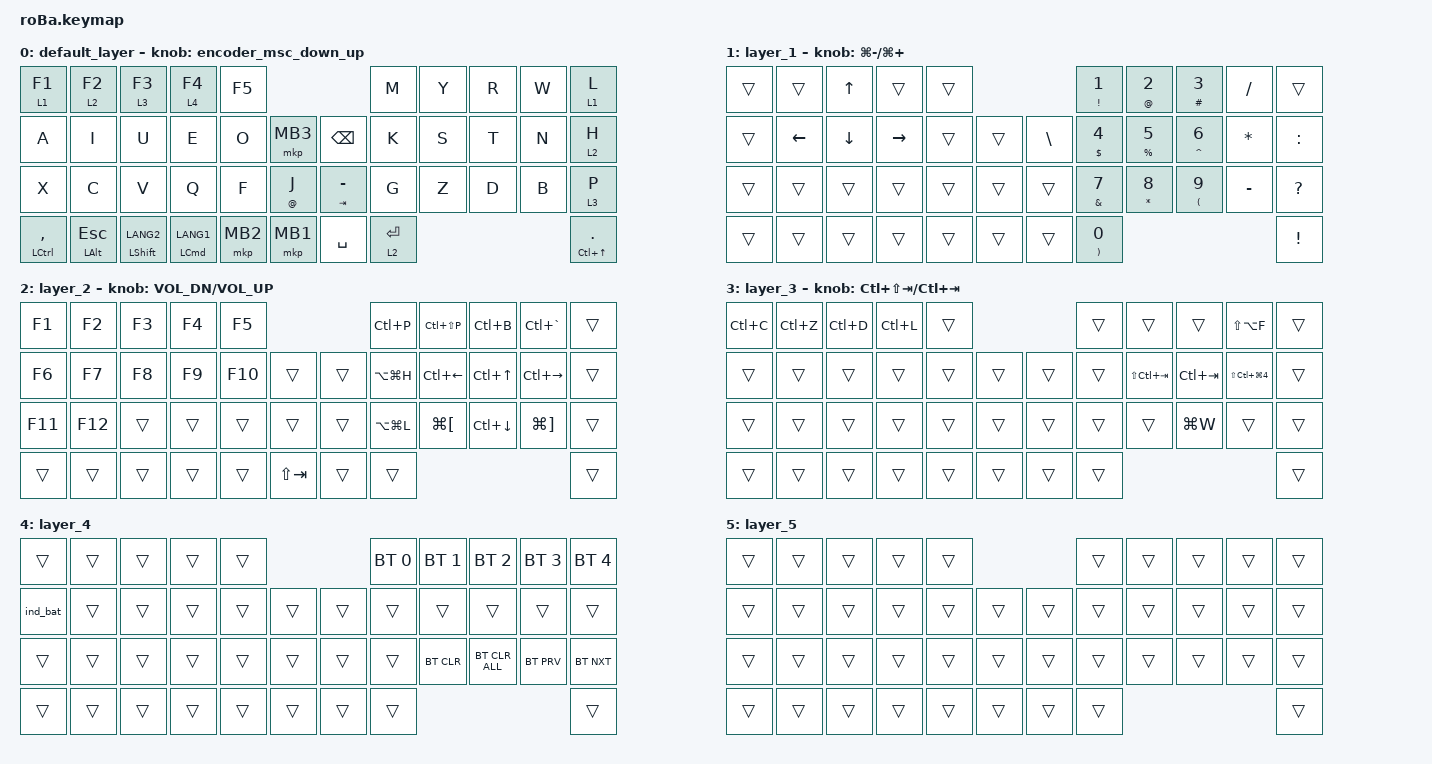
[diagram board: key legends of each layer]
#include <behaviors.dtsi>
#include <dt-bindings/zmk/bt.h>
#include <dt-bindings/zmk/keys.h>
#include <dt-bindings/zmk/pointing.h>
#include <behaviors/rgbled_widget.dtsi>

#define ZMK_POINTING_DEFAULT_SCRL_VAL 80

&mt {
    flavor = "balanced";
    quick-tap-ms = <200>;
    tapping-term-ms = <200>;
};

&lt {
    flavor = "balanced";
    quick-tap-ms = <150>;
    tapping-term-ms = <150>;
};

&trackball {
    // オートマウスレイヤー（AML）を使用するため、scroll-layersは無効化
    // AMLの設定はroBa_R.overlayで行っています
    // scroll-layers = <5>;

    // Layer 3でトラックボール操作を矢印キー入力に変換
    arrows {
        layers = <3>;
        bindings =
            <&kp RIGHT_ARROW>,
            <&kp LEFT_ARROW>,
            <&kp UP_ARROW>,
            <&kp DOWN_ARROW>;
        tick = <10>;
        wait-ms = <5>;
        tap-ms = <5>;
    };
};

/ {
    combos {
        compatible = "zmk,combos";

        // 左手コンボ: X + C = Z
        combo_z {
            bindings = <&kp Z>;
            key-positions = <22 23>;  // X + C (3行目の0番目と1番目)
            timeout-ms = <50>;
        };

        // カッコ自動補完コンボ（右手ホーム 隣接キー）
        // キー位置: H=15, T=16, N=17, S=18, K=19
        combo_paren {
            bindings = <&paren_pair>;
            key-positions = <16 17>;  // T + N
            timeout-ms = <50>;
        };

        combo_brace {
            bindings = <&brace_pair>;
            key-positions = <17 18>;  // N + S
            timeout-ms = <50>;
        };

        combo_bracket_jp {
            bindings = <&bracket_jp>;
            key-positions = <18 19>;  // S + K
            timeout-ms = <50>;
        };

        // 記号はLayer 1に移行（コンボは削除）

        // プログラミング用記号コンボ
        arrow {
            bindings = <&arrow_macro>;
            key-positions = <19 20>;  // K + -
        };

        fat_arrow {
            bindings = <&fat_arrow_macro>;
            key-positions = <18 20>;  // S + -
        };

        not_equal {
            bindings = <&not_equal_macro>;
            key-positions = <16 19>;  // T + K
        };

        equal_equal {
            bindings = <&equal_equal_macro>;
            key-positions = <15 18>;  // H + S
        };
    };

    macros {
        to_layer_0: to_layer_0 {
            compatible = "zmk,behavior-macro-one-param";
            #binding-cells = <1>;
            bindings = <&to 0 &macro_param_1to1 &kp MACRO_PLACEHOLDER>;
            label = "TO_LAYER_0";
        };

        // カッコ自動補完マクロ
        paren_pair: paren_pair {
            compatible = "zmk,behavior-macro";
            #binding-cells = <0>;
            bindings = <&kp LPAR &kp RPAR &kp LEFT>;
            label = "PAREN_PAIR";
        };

        brace_pair: brace_pair {
            compatible = "zmk,behavior-macro";
            #binding-cells = <0>;
            bindings = <&kp LBRC &kp RBRC &kp LEFT>;
            label = "BRACE_PAIR";
        };

        bracket_jp: bracket_jp {
            compatible = "zmk,behavior-macro";
            #binding-cells = <0>;
            bindings = <&kp LS(LBKT) &kp LS(RBKT) &kp LEFT>;
            label = "BRACKET_JP";
        };

        // プログラミング用記号マクロ
        arrow_macro: arrow_macro {
            compatible = "zmk,behavior-macro";
            #binding-cells = <0>;
            bindings = <&kp MINUS &kp GT>;
            label = "ARROW";
        };

        fat_arrow_macro: fat_arrow_macro {
            compatible = "zmk,behavior-macro";
            #binding-cells = <0>;
            bindings = <&kp EQUAL &kp GT>;
            label = "FAT_ARROW";
        };

        not_equal_macro: not_equal_macro {
            compatible = "zmk,behavior-macro";
            #binding-cells = <0>;
            bindings = <&kp EXCL &kp EQUAL>;
            label = "NOT_EQUAL";
        };

        equal_equal_macro: equal_equal_macro {
            compatible = "zmk,behavior-macro";
            #binding-cells = <0>;
            bindings = <&kp EQUAL &kp EQUAL>;
            label = "EQUAL_EQUAL";
        };
    };

    behaviors {
        // J長押し1秒で@
        j_at: j_at {
            compatible = "zmk,behavior-hold-tap";
            label = "J_AT";
            flavor = "tap-preferred";
            tapping-term-ms = <1000>;
            quick-tap-ms = <200>;
            bindings = <&kp>, <&kp>;
            #binding-cells = <2>;
        };

        // 伸ばし棒長押しでTAB
        tab_minus: tab_minus {
            compatible = "zmk,behavior-hold-tap";
            label = "TAB_MINUS";
            flavor = "tap-preferred";
            tapping-term-ms = <200>;
            quick-tap-ms = <200>;
            bindings = <&kp>, <&kp>;
            #binding-cells = <2>;
        };

        // .長押しで,
        dot_comma: dot_comma {
            compatible = "zmk,behavior-hold-tap";
            label = "DOT_COMMA";
            flavor = "tap-preferred";
            tapping-term-ms = <200>;
            quick-tap-ms = <200>;
            bindings = <&kp>, <&kp>;
            #binding-cells = <2>;
        };

        // ,長押しでCtrl
        comma_ctrl: comma_ctrl {
            compatible = "zmk,behavior-hold-tap";
            label = "COMMA_CTRL";
            flavor = "tap-preferred";
            tapping-term-ms = <200>;
            quick-tap-ms = <200>;
            bindings = <&kp>, <&kp>;
            #binding-cells = <2>;
        };

        lt_hold: lt_hold {
            compatible = "zmk,behavior-hold-tap";
            label = "LT_HOLD";
            flavor = "hold-preferred";
            quick-tap-ms = <150>;
            tapping-term-ms = <150>;
            bindings = <&mo>, <&kp>;

            #binding-cells = <2>;
        };

        lt_to_layer_0: lt_to_layer_0 {
            compatible = "zmk,behavior-hold-tap";
            label = "LAYER_TAP_TO_0";
            bindings = <&mo>, <&to_layer_0>;

            #binding-cells = <2>;
            tapping-term-ms = <200>;
        };

        encoder_msc_down_up: encoder_msc_down_up {
            compatible = "zmk,behavior-sensor-rotate";
            label = "ENCODER_MSC_DOWN_UP";
            #sensor-binding-cells = <0>;
            bindings = <&msc SCRL_DOWN>, <&msc SCRL_UP>;

            tap-ms = <20>;
        };

        // 数字キー長押しで記号入力
        num_sym: num_sym {
            compatible = "zmk,behavior-hold-tap";
            label = "NUM_SYM";
            flavor = "tap-preferred";
            tapping-term-ms = <200>;
            quick-tap-ms = <200>;
            bindings = <&kp>, <&kp>;
            #binding-cells = <2>;
        };

        // Backspace長押しでブラウザ戻る
        bspc_back: bspc_back {
            compatible = "zmk,behavior-hold-tap";
            label = "BSPC_BACK";
            flavor = "tap-preferred";
            tapping-term-ms = <200>;
            quick-tap-ms = <200>;
            bindings = <&mkp>, <&kp>;
            #binding-cells = <2>;
        };
    };

    keymap {
        compatible = "zmk,keymap";

        // Layer 0: ベースレイヤー（五十音順配列・最適化版）
        // レイヤー切り替え: 左手上段(F1-F4)=L1/2/3/4、右手右列(L/H/P/.)=L1/2/3/4（上から）
        // 左手: 母音（A I U E O）+ ファンクションキー（上段）+ 親指エリアにマウスボタン
        // 右手: 使用頻度高い子音（ま や ら わ / か さ た な は / 濁音・半濁音）
        // コンボ: X+C = Z
        // J長押し1秒: @
        // ー長押し200ms: TAB
        // ,長押し200ms: Ctrl
        // .長押し200ms: Ctrl+Up（Mission Control）
        // LANG2長押し200ms: Shift
        // LANG1長押し200ms: Command
        // F1/L1 F2/L2 F3/L3 F4/L4 F5                  M  Y  R  W  L/L1
        // A  I  U  E  O  [MB3]     [BSPC]            K  S  T  N  H/L2
        // X C V Q F J/@  [ー/TAB]                    G  Z  D  B  P/L3
        // ,/Ctrl ESC/Alt LANG2/Shift LANG1/Cmd [MB2] [MB1]  [SPACE]  Enter/L2  ./Ctrl+Up
        default_layer {
            bindings = <
&lt 1 F1                      &lt 2 F2          &lt 3 F3               &lt 4 F4                &kp F5                                                &kp M           &kp Y       &kp R     &kp W            &lt 1 L
&kp A                         &kp I             &kp U                  &kp E                   &kp O             &mkp MB3        &kp BACKSPACE       &kp K           &kp S       &kp T     &kp N            &lt 2 H
&kp X                         &kp C             &kp V                  &kp Q                   &kp F             &j_at AT_SIGN J &tab_minus TAB MINUS &kp G          &kp Z       &kp D     &kp B            &lt 3 P
&comma_ctrl LCTRL COMMA       &mt LEFT_ALT ESC  &mt LEFT_SHIFT LANG2   &mt LEFT_COMMAND LANG1  &mkp MB2          &mkp MB1        &kp SPACE           &lt 2 ENTER                                        &mt LC(UP) DOT
            >;

            sensor-bindings = <&encoder_msc_down_up>;
        };

        // Layer 1: 矢印キー + テンキー + 記号
        // 左側: 矢印キー配置、右側: テンキー（1-9配置）+ 記号
        // 数字長押しで記号: 1!  2@  3#  4$  5%  6^  7&  8*  9(  0)
        // 右下: -（マイナス）? !
        layer_1 {
            bindings = <
&trans        &trans        &kp UP        &trans        &trans                                          &num_sym EXCL N1      &num_sym AT N2       &num_sym HASH N3     &kp SLASH       &trans
&trans        &kp LEFT      &kp DOWN      &kp RIGHT     &trans        &trans          &kp BACKSLASH     &num_sym DOLLAR N4    &num_sym PERCENT N5  &num_sym CARET N6    &kp ASTERISK    &kp COLON
&trans        &trans        &trans        &trans        &trans        &trans          &trans            &num_sym AMPS N7      &num_sym ASTERISK N8 &num_sym LPAR N9     &kp MINUS       &kp QUESTION
&trans        &trans        &trans        &trans        &trans        &trans          &trans            &num_sym RPAR N0                                                                   &kp EXCL
            >;

            sensor-bindings = <&inc_dec_kp LG(MINUS) LG(PLUS)>;
        };

        // Layer 2: ファンクションキー + VSCodeショートカット
        layer_2 {
            bindings = <
&kp F1   &kp F2   &kp F3  &kp F4  &kp F5                            &kp LC(P)      &kp LC(LS(P))      &kp LC(B)           &kp LC(GRAVE)       &trans
&kp F6   &kp F7   &kp F8  &kp F9  &kp F10  &trans           &trans  &kp LA(LG(H))  &kp LC(LEFT_ARROW)  &kp LC(UP_ARROW)    &kp LC(RIGHT_ARROW)  &trans
&kp F11  &kp F12  &trans  &trans  &trans   &trans           &trans  &kp LA(LG(L))  &kp LG(LEFT_BRACKET)  &kp LC(DOWN_ARROW)  &kp LG(RIGHT_BRACKET)  &trans
&trans   &trans   &trans  &trans  &trans   &kp LS(TAB)      &trans  &trans                                                                        &trans
            >;

            sensor-bindings = <&inc_dec_kp C_VOL_DN C_VOL_UP>;
        };

        // Layer 3: ターミナル/システムショートカット
        layer_3 {
            bindings = <
&kp LC(C)  &kp LC(Z)  &kp LC(D)  &kp LC(L)  &trans                      &trans  &trans           &trans       &kp LS(LA(F))             &trans
&trans     &trans     &trans     &trans     &trans  &trans      &trans  &trans  &kp LS(LC(TAB))  &kp LC(TAB)  &kp LS(LC(LG(NUMBER_4)))  &trans
&trans     &trans     &trans     &trans     &trans  &trans      &trans  &trans  &trans           &kp LG(W)    &trans                    &trans
&trans     &trans     &trans     &trans     &trans  &trans      &trans  &trans                                                          &trans
            >;

            sensor-bindings = <&inc_dec_kp LC(LS(TAB)) LC(TAB)>;
        };

        // Layer 4: Bluetooth設定 + OS切り替え
        // Bluetoothプロファイル0-4を使い分けることで、異なるOSに接続できます
        // 例: プロファイル0=Windows、プロファイル1=Mac など
        // OSごとに異なる修飾キーマッピングが必要な場合は、レイヤー2-3で対応
        // &ind_bat: バッテリー残量確認（LED: 緑80%以上、黄20-79%、赤1-19%）
        layer_4 {
            bindings = <
&trans    &trans  &trans  &trans  &trans                      &bt BT_SEL 0  &bt BT_SEL 1    &bt BT_SEL 2    &bt BT_SEL 3  &bt BT_SEL 4
&ind_bat  &trans  &trans  &trans  &trans  &trans      &trans  &trans        &trans          &trans          &trans        &trans
&trans    &trans  &trans  &trans  &trans  &trans      &trans  &trans        &bt BT_CLR      &bt BT_CLR_ALL  &bt BT_PRV    &bt BT_NXT    
&trans    &trans  &trans  &trans  &trans  &trans      &trans  &trans                                                      &trans
            >;
        };

        // Layer 5: スクロール（トラックボール用）
        layer_5 {
            bindings = <
&trans  &trans  &trans  &trans  &trans                      &trans  &trans  &trans  &trans  &trans
&trans  &trans  &trans  &trans  &trans  &trans      &trans  &trans  &trans  &trans  &trans  &trans
&trans  &trans  &trans  &trans  &trans  &trans      &trans  &trans  &trans  &trans  &trans  &trans
&trans  &trans  &trans  &trans  &trans  &trans      &trans  &trans                          &trans
            >;
        };
    };
};
